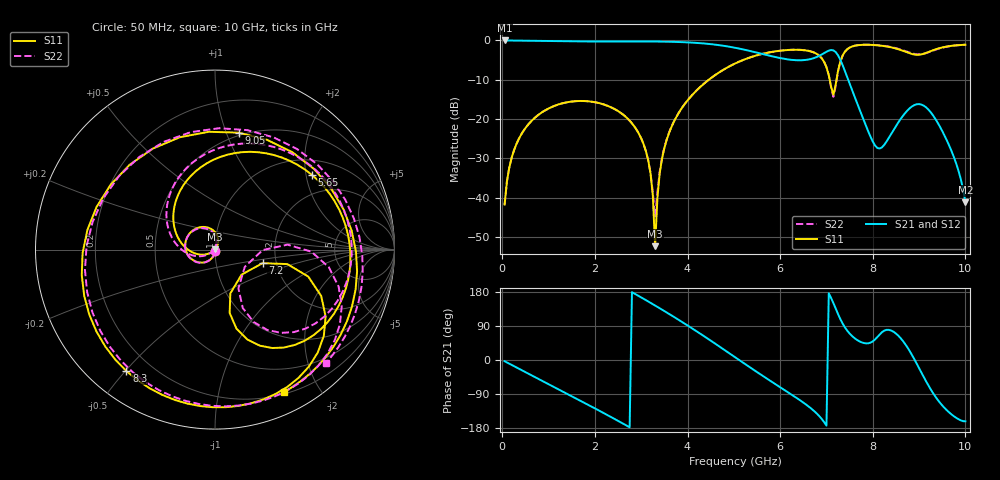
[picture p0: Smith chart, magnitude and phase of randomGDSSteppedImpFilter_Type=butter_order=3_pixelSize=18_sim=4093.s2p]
! freq	dB(S11)	phase(S11)	dB(S12)	phase(S12)
!  dB(S21)	phase(S21)	dB(S22)	phase(S22)
!S-par simulation data
#  GHz  S  DB  R 50
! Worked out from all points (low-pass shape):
!   200 points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, 50 MHz to 10 GHz, reference 50 ohm
!   highest |S21| = -0.01 dB at 50 MHz (marker M1); lowest = -41.2 dB at 10 GHz (marker M2)
!   |S21| within 3 dB of the highest: start of sweep to 5.465 GHz; 6.982 GHz to 7.202 GHz (220.6 MHz wide, 3.11 % of centre)
!   lowest |S11| = -52.3 dB at 3.3 GHz (marker M3), VSWR 1.00, Z = 49.8 + j0.14 ohm
!   |S11| at or under -10 dB: start of sweep to 4.459 GHz; 7.07 GHz to 7.217 GHz (146.9 MHz wide, 2.06 % of centre)
!   |S22| runs from -44.7 to -1.1 dB; largest |S21 - S12| = 0
!   S11 on the Smith chart (normalised r, x): 50 MHz: 1.00, -0.02; 5.65 GHz: 1.39, +2.16; 7.2 GHz: 1.69, -0.28; 8.3 GHz: 0.11, -0.50; 9.05 GHz: 0.47, +1.10; 10 GHz: 0.22, -1.58
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0.05  -41.74 -90.1  -0.01 -3.3  -0.01 -3.3  -41.73 -90.2
0.2  -29.93 -102.3  -0.03 -12.9  -0.03 -12.9  -29.93 -102.0
0.5  -22.29 -122.6  -0.07 -32.0  -0.07 -32.0  -22.29 -121.8
1.75  -15.40 156.2  -0.26 -111.5  -0.26 -111.5  -15.41 159.5
3  -24.91 71.8  -0.26 165.1  -0.26 165.1  -24.93 82.0
3.2  -33.75 59.5  -0.27 151.0  -0.27 151.0  -33.63 77.8
3.3  -52.33 144.3  -0.28 143.8  -0.28 143.8  -44.68 145.6
3.4  -33.71 -142.6  -0.29 136.5  -0.29 136.5  -33.29 -145.6
4.15  -13.27 162.0  -0.59 79.4  -0.59 79.4  -13.25 172.1
5.05  -5.74 87.0  -1.92 5.4  -1.92 5.4  -5.74 100.6
5.65  -3.33 37.6  -3.54 -44.0  -3.54 -44.0  -3.32 52.0
6.7  -2.94 -45.3  -4.60 -131.1  -4.60 -131.1  -2.92 -31.5
7.05  -8.82 -77.0  -2.60 176.0  -2.60 176.0  -8.87 -64.6
7.2  -11.19 -15.9  -2.97 135.6  -2.97 135.6  -11.52 -0.6
7.5  -1.83 -45.1  -10.97 69.9  -10.97 69.9  -1.83 -30.8
8.05  -1.19 -100.1  -26.73 54.3  -26.73 54.3  -1.16 -86.1
8.3  -1.54 -126.1  -25.66 79.5  -25.66 79.5  -1.48 -111.7
8.35  -1.65 -132.1  -24.71 79.4  -24.71 79.4  -1.58 -117.5
8.7  -2.86 171.3  -18.46 42.0  -18.46 42.0  -2.70 -171.2
9.05  -3.55 78.6  -16.31 -33.1  -16.31 -33.1  -3.50 101.7
9.45  -1.93 -8.7  -21.94 -112.6  -21.94 -112.6  -2.01 12.5
10  -1.10 -64.0  -41.21 -161.8  -41.21 -161.8  -1.07 -45.7
